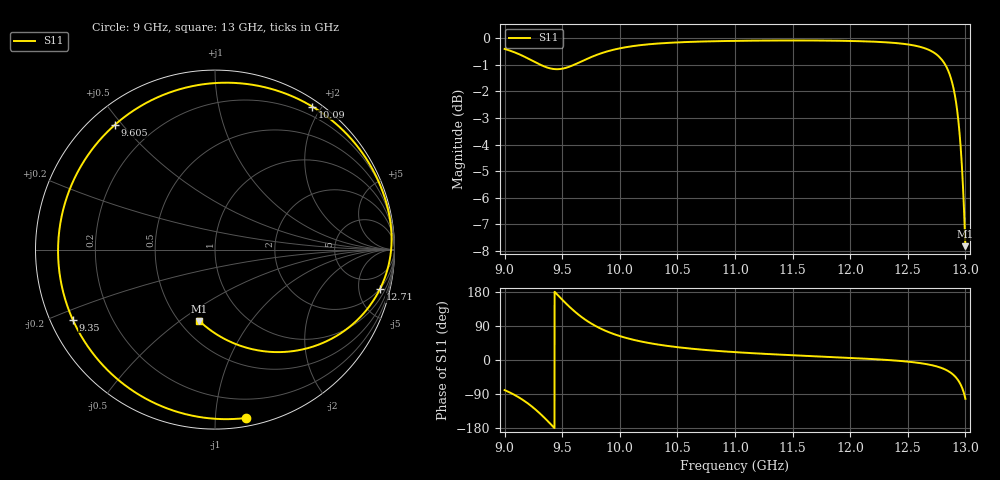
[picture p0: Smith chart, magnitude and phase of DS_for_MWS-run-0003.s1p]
! TOUCHSTONE file generated by CST DESIGN STUDIO
! Date and time: Tue Feb  4 17:52:46 2025
! Project name: C:\Work\MatlabApps\UnitCellOptimizationMatlab\CST\unitcell.cst
! Tree item: Tasks\Sweep1\SPara1\S-Parameters
! Header version: 2024
! Port assignment regex: !\s*Touchstone port\s*([0-9]+)\s*=\s*(CST MWS port|CST DES external port|CST DES block port)\s*(.+)\s* \(\"(.*)\"\)(\s*mode\s*([0-9]+))?.*
! Touchstone port assignment:
! Touchstone port 1 = CST DES external port 1 ("")
# GHz S MA R 50
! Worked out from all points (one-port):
!   4001 points, 9 GHz to 13 GHz, reference 50 ohm
!   lowest |S11| = -7.8 dB at 13 GHz (marker M1), VSWR 2.37, Z = 31.1 - j29.6 ohm
!   |S11| at or under -10 dB: nowhere
!   S11 on the Smith chart (normalised r, x): 9 GHz: 0.06, -1.20; 9.35 GHz: 0.07, -0.23; 9.605 GHz: 0.07, +0.48; 10.09 GHz: 0.08, +1.89; 12.71 GHz: 1.94, -7.98; 13 GHz: 0.62, -0.59
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9  0.9541 -79.4
9.107  0.9363 -95.7
9.193  0.918 -112.6
9.271  0.8997 -131.4
9.35  0.8835 -153.8
9.426  0.8748 -177.5
9.5  0.8759 159.2
9.554  0.8823 143.0
9.605  0.8912 128.9
9.68  0.9066 110.8
9.763  0.9233 94.3
9.878  0.9422 76.8
10  0.9565 63.2
10.086  0.9638 55.7
10.27  0.9742 43.9
10.5  0.9814 33.9
11  0.9879 20.7
11.5  0.9896 12.5
12  0.9875 5.6
12.5  0.9729 -4.3
12.706  0.9448 -13.5
12.81  0.9019 -23.1
12.882  0.8295 -35.6
12.918  0.7596 -45.9
12.951  0.6568 -60.3
12.971  0.5685 -73.1
12.987  0.4827 -87.0
13  0.4067 -102.4
